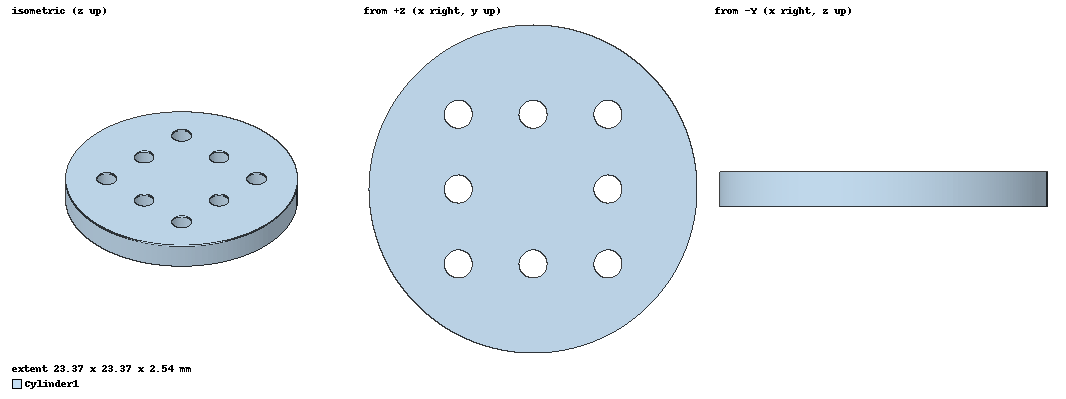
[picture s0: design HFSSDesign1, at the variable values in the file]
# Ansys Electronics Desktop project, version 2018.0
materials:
  vacuum: permittivity=1
  copper: permeability=0.999991 conductivity=58000000
  PMLGroup1_Z_1: permittivity{anisotropic component1=18.984171 component2=18.984171 component3=0.026337731} permeability{anisotropic component1=18.984001 component2=18.984001 component3=0.026337494} dielectric_loss_tangent{anisotropic component1=1 component2=1 component3=-1} magnetic_loss_tangent{anisotropic component1=1 component2=1 component3=-1}

design HFSSDesign1 (HFSS, Eigenmode, model units mm)
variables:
  x1 = -0.1675in  # optimise -0.5in..0.5in
  y1 = -0.16in  # optimise -0.5in..0.5in
  x2 = 0.21375in  # optimise -0.5in..0.5in
  x3 = -0.075in  # optimise -0.5in..0.5in
  y2 = -0.05in  # optimise -0.5in..0.5in
  y3 = 0.21in  # optimise -0.5in..0.5in
  bump_h2 = 0.15in  # optimise 0.05in..1in
  bump_r2 = 0.1225in  # optimise 0in..0.2in
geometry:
  Cylinder1 [vacuum] = cylinder(axis=Z, base_centre=(0in, 0in, 0in), radius=0.46in, height=0.1in)
  Cylinder3 = cylinder(axis=Z, base_centre=(0.21in, 0.21in, 0in), radius=1mm, height=0.15in)
  Cylinder3_1, Cylinder3_2, Cylinder3_3 = Cylinder3.duplicate_around_axis(axis=Z, angle=90deg, total=4)
  Cylinder1.subtract(Cylinder3, Cylinder3_1, Cylinder3_2, Cylinder3_3)
  Cylinder4 = cylinder(axis=Z, base_centre=(0.21in, 0in, 0in), radius=1mm, height=0.15in)
  Cylinder4_1, Cylinder4_2, Cylinder4_3 = Cylinder4.duplicate_around_axis(axis=Z, angle=90deg, total=4)
  Cylinder1.subtract(Cylinder4, Cylinder4_1, Cylinder4_2, Cylinder4_3)
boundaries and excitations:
  PerfE1: Perfect E Objects=Cylinder1
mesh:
  initial mesh: GlobalSurfApproximation{CurvedSurfaceApproxChoice=UseSlider SliderMeshSettings=9}
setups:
  Lowest_Mode: HfssEigen MinimumFrequency=1GHz NumModes=1 MaxDeltaFreq=0.01 ConvergeOnRealFreq=false MaximumPasses=50 MinimumPasses=1 MinimumConvergedPasses=1 PercentRefinement=30 BasisOrder=1
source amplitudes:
  #-10:1: 1 0deg
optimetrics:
  No_Modes: Optimization Optimizer="Pattern Search" AnalysisStopOptions{StopForNumIteration MaxNumIteration=1000 MinNumIteration=10} CostFuncNormType=L2 Acceptable_Cost=0 Noise=0.0001 UpdateDesignWhenDone
    goal re(Mode(1)) >= 20000000000 weight 1 on Lowest_Mode : LastAdaptive
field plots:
  Vector_E1: E Field in Cylinder1 on Lowest_Mode : LastAdaptive at Phase=0deg
